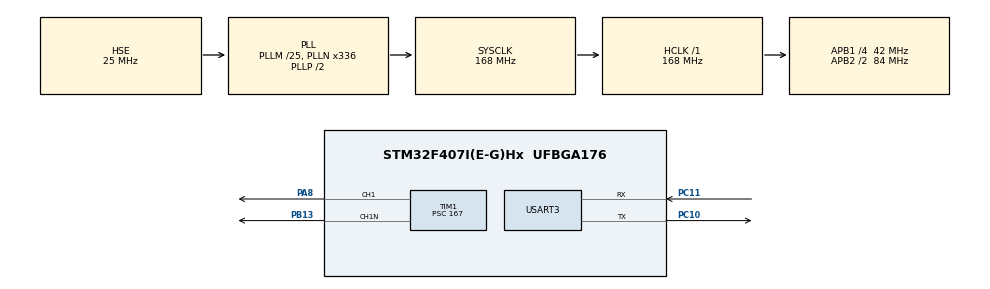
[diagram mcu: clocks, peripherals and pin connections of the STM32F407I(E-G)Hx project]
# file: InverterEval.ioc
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FREERTOS.Tasks01=defaultTask,24,128,StartDefaultTask,Default,NULL,Dynamic,NULL,NULL
FREERTOS.configUSE_NEWLIB_REENTRANT=1
Mcu.Family=STM32F4
Mcu.Name=STM32F407I(E-G)Hx
Mcu.Package=UFBGA176
NVIC.PriorityGroup=NVIC_PRIORITYGROUP_4
NVIC.TIM6_DAC_IRQn=true\:15\:0\:false\:false\:true\:false\:false\:true\:true
NVIC.TimeBase=TIM6_DAC_IRQn
NVIC.TimeBaseIP=TIM6
PA8.Signal=S_TIM1_CH1
PB13.Mode=PWM Generation1 CH1 CH1N
PB13.Signal=TIM1_CH1N
PC10.Mode=Asynchronous
PC10.Signal=USART3_TX
PC11.Mode=Asynchronous
PC11.Signal=USART3_RX
PH0-OSC_IN.Mode=HSE-External-Oscillator
PH0-OSC_IN.Signal=RCC_OSC_IN
PH1-OSC_OUT.Mode=HSE-External-Oscillator
PH1-OSC_OUT.Signal=RCC_OSC_OUT
ProjectManager.HeapSize=0x200
ProjectManager.StackSize=0x400
ProjectManager.TargetToolchain=STM32CubeIDE
RCC.48MHZClocksFreq_Value=48000000
RCC.AHBFreq_Value=168000000
RCC.APB1CLKDivider=RCC_HCLK_DIV4
RCC.APB1Freq_Value=42000000
RCC.APB1TimFreq_Value=84000000
RCC.APB2CLKDivider=RCC_HCLK_DIV2
RCC.APB2Freq_Value=84000000
RCC.APB2TimFreq_Value=168000000
RCC.CortexFreq_Value=168000000
RCC.HCLKFreq_Value=168000000
RCC.HSE_VALUE=25000000
RCC.HSI_VALUE=16000000
RCC.LSE_VALUE=32768
RCC.PLLM=25
RCC.PLLN=336
RCC.PLLQ=7
RCC.PLLSourceVirtual=RCC_PLLSOURCE_HSE
RCC.SYSCLKFreq_VALUE=168000000
RCC.SYSCLKSource=RCC_SYSCLKSOURCE_PLLCLK
RCC.VCOOutputFreq_Value=336000000
SH.S_TIM1_CH1.0=TIM1_CH1,PWM Generation1 CH1 CH1N
TIM1.AutoReloadPreload=TIM_AUTORELOAD_PRELOAD_ENABLE
TIM1.AutomaticOutput=TIM_AUTOMATICOUTPUT_ENABLE
TIM1.Channel-PWM\ Generation1\ CH1\ CH1N=TIM_CHANNEL_1
TIM1.DeadTime=1
TIM1.OffStateIDLEMode=TIM_OSSI_ENABLE
TIM1.OffStateRunMode=TIM_OSSR_ENABLE
TIM1.Period=39
TIM1.Prescaler=167
TIM1.Pulse-PWM\ Generation1\ CH1\ CH1N=500
USART3.VirtualMode=VM_ASYNC
VP_FREERTOS_VS_CMSIS_V2.Mode=CMSIS_V2
VP_SYS_VS_tim6.Mode=TIM6
VP_TIM1_VS_ClockSourceINT.Mode=Internal
board=custom

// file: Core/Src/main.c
/* USER CODE BEGIN Header */
/**
  ******************************************************************************
  * @file           : main.c
  * @brief          : Main program body
  ******************************************************************************
  * @attention
  *
  * This software is licensed under terms that can be found in the LICENSE file
  * in the root directory of this software component.
  * If no LICENSE file comes with this software, it is provided AS-IS.
  *
  ******************************************************************************
  */
/* USER CODE END Header */

#include "main.h"
#include "cmsis_os.h"
#include "tim.h"
#include "usart.h"
#include "gpio.h"

/* USER CODE BEGIN Includes */
#include "stm324xg_eval.h"
#include "stm324xg_eval_lcd.h"
/* USER CODE END Includes */

void SystemClock_Config(void);
void MX_FREERTOS_Init(void);

int main(void)
{

  /* MCU Configuration--------------------------------------------------------*/

  /* Reset of all peripherals, Initializes the Flash interface and the Systick. */
  HAL_Init();

  /* Configure the system clock */
  SystemClock_Config();

  /* USER CODE BEGIN SysInit */

  /* Configure LED1 and LED3 */
  BSP_LED_Init(LED1);
  BSP_LED_Init(LED3);

  /*LCD Initialization */
  BSP_LCD_Init();                   /* Initialize the LCD */
  BSP_LCD_DisplayOn();              /* Enable the LCD */
  BSP_LCD_Clear(LCD_COLOR_BLACK);   /* Clear the LCD Background layer */

  /* USER CODE END SysInit */

  /* Initialize all configured peripherals */
  MX_GPIO_Init();
  MX_TIM1_Init();
  MX_USART3_UART_Init();

  /* USER CODE BEGIN 2 */
//  CommsInit();
  /* USER CODE END 2 */

  /* Init scheduler */
  osKernelInitialize();

  /* Call init function for freertos objects (in cmsis_os2.c) */
  MX_FREERTOS_Init();

  /* Start scheduler */
  osKernelStart();

  /* We should never get here as control is now taken by the scheduler */

  /* Infinite loop */
  while (1)
  {

  }
}

void SystemClock_Config(void)
{
  RCC_OscInitTypeDef RCC_OscInitStruct = {0};
  RCC_ClkInitTypeDef RCC_ClkInitStruct = {0};

  /** Configure the main internal regulator output voltage
  */
  __HAL_RCC_PWR_CLK_ENABLE();
  __HAL_PWR_VOLTAGESCALING_CONFIG(PWR_REGULATOR_VOLTAGE_SCALE1);

  /** Initializes the RCC Oscillators according to the specified parameters
  * in the RCC_OscInitTypeDef structure.
  */
  RCC_OscInitStruct.OscillatorType = RCC_OSCILLATORTYPE_HSE;
  RCC_OscInitStruct.HSEState = RCC_HSE_ON;
  RCC_OscInitStruct.PLL.PLLState = RCC_PLL_ON;
  RCC_OscInitStruct.PLL.PLLSource = RCC_PLLSOURCE_HSE;
  RCC_OscInitStruct.PLL.PLLM = 25;
  RCC_OscInitStruct.PLL.PLLN = 336;
  RCC_OscInitStruct.PLL.PLLP = RCC_PLLP_DIV2;
  RCC_OscInitStruct.PLL.PLLQ = 7;
  if (HAL_RCC_OscConfig(&RCC_OscInitStruct) != HAL_OK)
  {
    Error_Handler();
  }

  /** Initializes the CPU, AHB and APB buses clocks
  */
  RCC_ClkInitStruct.ClockType = RCC_CLOCKTYPE_HCLK|RCC_CLOCKTYPE_SYSCLK
                              |RCC_CLOCKTYPE_PCLK1|RCC_CLOCKTYPE_PCLK2;
  RCC_ClkInitStruct.SYSCLKSource = RCC_SYSCLKSOURCE_PLLCLK;
  RCC_ClkInitStruct.AHBCLKDivider = RCC_SYSCLK_DIV1;
  RCC_ClkInitStruct.APB1CLKDivider = RCC_HCLK_DIV4;
  RCC_ClkInitStruct.APB2CLKDivider = RCC_HCLK_DIV2;

  if (HAL_RCC_ClockConfig(&RCC_ClkInitStruct, FLASH_LATENCY_5) != HAL_OK)
  {
    Error_Handler();
  }
}

void HAL_TIM_PeriodElapsedCallback(TIM_HandleTypeDef *htim)
{
  if (htim->Instance == TIM6) {
    HAL_IncTick();
  }
}

void Error_Handler(void)
{
  __disable_irq();
  while (1)
  {
  }
}

#ifdef  USE_FULL_ASSERT
/**
  * @brief  Reports the name of the source file and the source line number
  *         where the assert_param error has occurred.
  * @param  file: pointer to the source file name
  * @param  line: assert_param error line source number
  * @retval None
  */
void assert_failed(uint8_t *file, uint32_t line)
{
  /* USER CODE BEGIN 6 */
  /* User can add his own implementation to report the file name and line number,
     ex: printf("Wrong parameters value: file %s on line %d\r\n", file, line) */
	vAssertCalled((char*)file, (int)line);
  /* USER CODE END 6 */
}
#endif /* USE_FULL_ASSERT */

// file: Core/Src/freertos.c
/* USER CODE BEGIN Header */
/**
  ******************************************************************************
  * File Name          : freertos.c
  * Description        : Code for freertos applications
  ******************************************************************************
  * @attention
  *
  * This software is licensed under terms that can be found in the LICENSE file
  * in the root directory of this software component.
  * If no LICENSE file comes with this software, it is provided AS-IS.
  *
  ******************************************************************************
  */
/* USER CODE END Header */

#include "FreeRTOS.h"
#include "task.h"
#include "main.h"
#include "cmsis_os.h"

/* USER CODE BEGIN Includes */
#include "app.h"
#include "queue.h"            // for xQueuePeek
#include "cmsis_os2.h"        // for osDelay
/* USER CODE END Includes */

/* USER CODE BEGIN Variables */
QueueHandle_t xSensorQueue;
QueueHandle_t xControlQueue;
/* USER CODE END Variables */

/* Definitions for defaultTask */
osThreadId_t defaultTaskHandle;
const osThreadAttr_t defaultTask_attributes = {
  .name = "defaultTask",
  .stack_size = 128 * 4,
  .priority = (osPriority_t) osPriorityNormal,
};

void StartDefaultTask(void *argument);
void MX_FREERTOS_Init(void); /* (MISRA C 2004 rule 8.1) */

void MX_FREERTOS_Init(void) {

  /* USER CODE BEGIN RTOS_QUEUES */
  xSensorQueue  = xQueueCreate(  1, sizeof(sensorPacket_t) );
  xControlQueue = xQueueCreate(  1, sizeof(control_t)    );
  /* USER CODE END RTOS_QUEUES */

  /* Create the thread(s) */
  /* creation of defaultTask */
  defaultTaskHandle = osThreadNew(StartDefaultTask, NULL, &defaultTask_attributes);

  /* USER CODE BEGIN RTOS_THREADS */
  osThreadNew(CommsTask,   NULL, &(osThreadAttr_t){ .name="Comms",   .stack_size=256, .priority=osPriorityLow     });
//  osThreadNew(ControlTask, NULL, &(osThreadAttr_t){ .name="Control", .stack_size=256, .priority=osPriorityAboveNormal });
//  osThreadNew(SineGenTask, NULL, &(osThreadAttr_t){ .name="SineGen", .stack_size=256, .priority=osPriorityNormal    });
  osThreadNew(LEDUITask,   NULL, &(osThreadAttr_t){ .name="LEDUI",   .stack_size=256, .priority=osPriorityLow       });
  /* USER CODE END RTOS_THREADS */

}

void StartDefaultTask(void *argument)
{
  for(;;)
  {
    osDelay(1);
  }
}
